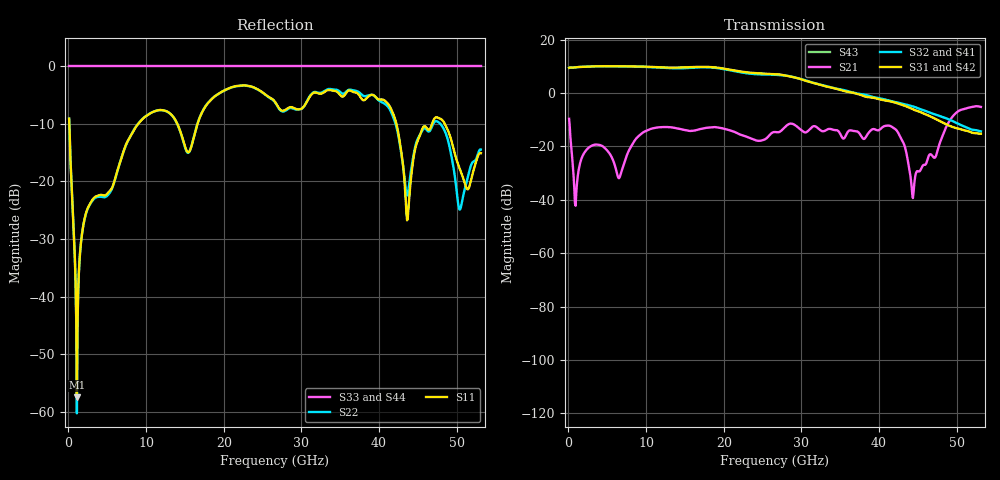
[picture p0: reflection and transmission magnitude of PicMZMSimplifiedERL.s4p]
! File created by SignalIntegrity v1.4.2: Signal and Power Integrity Tools
! https://github.com/Nubis-Communications/SignalIntegrity
# MHz S MA R 50.0
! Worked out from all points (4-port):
!   637 points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, 83.4 MHz to 53.12 GHz, reference 50 ohm
!   strongest paths, dB at 83.4 MHz, 13.34 GHz, 26.6 GHz, 39.86 GHz, 53.12 GHz:
!     S31: 9.5, 9.5, 7.1, -2.2, -15.2
!     S42: 9.5, 9.4, 7.0, -2.0, -15.0
!     S32: 9.4, 9.3, 6.8, -1.9, -14.4
!     S41: 9.6, 9.3, 6.8, -2.2, -14.4
!     S21: -9.6, -12.9, -14.6, -14.0, -5.2
!     S43: -, -, -, -, -
!   lowest |S11| = -57.5 dB at 1.084 GHz (marker M1), VSWR 1.00, Z = 49.9 + j0.016 ohm
!   |S11| at or under -10 dB: 108 MHz to 8.99 GHz (8.882 GHz wide, 195 % of centre); 42.24 GHz to 46.84 GHz (4.601 GHz wide, 10.3 % of centre); 48.47 GHz to end of sweep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
83.39874  0.3504 -41.3  0.3296 -43.0  0 0.0  0 0.0
          0.3295 -43.0  0.3506 -41.3  0 0.0  0 0.0
          2.971 178.1  2.96 -2.3  1 180.0  0 0.0
          3.011 -3.6  2.996 176.0  0 0.0  1 180.0
1084.184  0.001333 173.1  0.01942 88.9  0 0.0  0 0.0
          0.01939 89.0  0.0009686 167.6  0 0.0  0 0.0
          3.051 137.3  3.053 -42.6  1 180.0  0 0.0
          3.039 -43.0  3.04 136.9  0 0.0  1 180.0
4336.735  0.07613 61.2  0.1022 -22.3  0 0.0  0 0.0
          0.1022 -22.1  0.07319 60.9  0 0.0  0 0.0
          3.178 2.2  3.185 -177.9  1 180.0  0 0.0
          3.141 -178.1  3.133 2.1  0 0.0  1 180.0
8673.469  0.296 75.6  0.1383 63.9  0 0.0  0 0.0
          0.138 64.0  0.2978 76.1  0 0.0  0 0.0
          3.156 -178.7  3.125 1.4  1 180.0  0 0.0
          3.105 1.3  3.12 -178.5  0 0.0  1 180.0
13010.2  0.392 20.7  0.2296 -50.6  0 0.0  0 0.0
         0.2297 -50.4  0.3904 20.6  0 0.0  0 0.0
         2.992 1.2  2.919 -178.2  1 180.0  0 0.0
         2.917 -178.7  2.962 1.4  0 0.0  1 180.0
17263.54  0.404 53.6  0.2155 99.6  0 0.0  0 0.0
          0.2158 99.8  0.4056 53.7  0 0.0  0 0.0
          3.099 -178.1  3.037 4.4  1 180.0  0 0.0
          3.031 3.3  3.076 -177.7  0 0.0  1 180.0
53125  0.1757 158.8  0.55 -126.2  0 0.0  0 0.0
       0.5501 -126.2  0.189 166.6  0 0.0  0 0.0
       0.1732 124.5  0.1914 -57.0  1 180.0  0 0.0
       0.19 -58.2  0.1777 125.0  0 0.0  1 180.0
